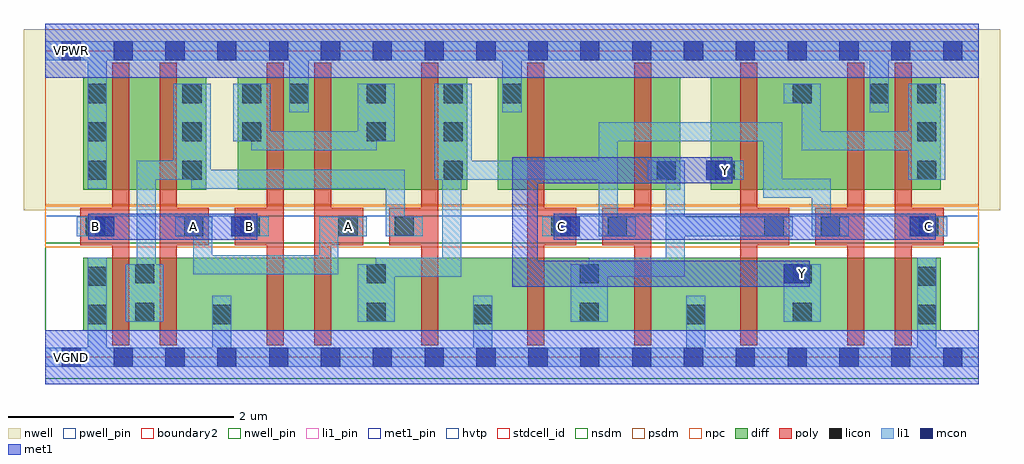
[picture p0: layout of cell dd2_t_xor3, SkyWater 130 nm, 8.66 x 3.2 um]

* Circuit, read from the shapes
.subckt dd2_t_xor3 A B C VGND VNB VPB VPWR Y
XM1 n1 B VGND VNB sky130_fd_pr__nfet_01v8 w=0.65 l=0.15
XM2 VGND A n1 VNB sky130_fd_pr__nfet_01v8 w=0.65 l=0.15
XM3 n2 B VGND VNB sky130_fd_pr__nfet_01v8 w=0.65 l=0.15
XM4 n3 A n2 VNB sky130_fd_pr__nfet_01v8 w=0.65 l=0.15
XM5 VGND n1 n3 VNB sky130_fd_pr__nfet_01v8 w=0.65 l=0.15
XM6 n4 C VGND VNB sky130_fd_pr__nfet_01v8 w=0.65 l=0.15
XM7 VGND n3 n4 VNB sky130_fd_pr__nfet_01v8 w=0.65 l=0.15
XM8 Y n4 VGND VNB sky130_fd_pr__nfet_01v8 w=0.65 l=0.15
XM9 n5 n3 Y VNB sky130_fd_pr__nfet_01v8 w=0.65 l=0.15
XM10 VGND C n5 VNB sky130_fd_pr__nfet_01v8 w=0.65 l=0.15
XM11 n6 B VPWR VPB sky130_fd_pr__pfet_01v8_hvt w=1 l=0.15
XM12 n1 A n6 VPB sky130_fd_pr__pfet_01v8_hvt w=1 l=0.15
XM13 VPWR B n7 VPB sky130_fd_pr__pfet_01v8_hvt w=1 l=0.15
XM14 n7 A VPWR VPB sky130_fd_pr__pfet_01v8_hvt w=1 l=0.15
XM15 n3 n1 n7 VPB sky130_fd_pr__pfet_01v8_hvt w=1 l=0.15
XM16 n8 C VPWR VPB sky130_fd_pr__pfet_01v8_hvt w=1 l=0.15
XM17 n4 n3 n8 VPB sky130_fd_pr__pfet_01v8_hvt w=1 l=0.15
XM18 n9 n4 Y VPB sky130_fd_pr__pfet_01v8_hvt w=1 l=0.15
XM19 VPWR n3 n9 VPB sky130_fd_pr__pfet_01v8_hvt w=1 l=0.15
XM20 n9 C VPWR VPB sky130_fd_pr__pfet_01v8_hvt w=1 l=0.15
.ends

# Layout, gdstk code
import gdstk
lib = gdstk.Library(unit=1e-6, precision=1e-09)
def R(c, l, rs):  # rectangles x0, y0, x1, y1
    for r in rs: c.add(gdstk.rectangle(r[:2], r[2:], *l))
def A(c, l, x, y, w, h, nx, ny, dx, dy):  # array of equal rectangles
    R(c, l, [(x+i*dx, y+j*dy, x+i*dx+w, y+j*dy+h) for i in range(nx) for j in range(ny)])
nwell_pin = (64, 16)
nwell = (64, 20)
diff = (65, 20)
poly = (66, 20)
licon = (66, 44)
li1_pin = (67, 16)
li1 = (67, 20)
mcon = (67, 44)
met1_pin = (68, 16)
met1 = (68, 20)
hvtp = (78, 44)
stdcell_id = (81, 4)
nsdm = (93, 44)
psdm = (94, 20)
npc = (95, 20)
pwell_pin = (122, 16)
boundary2 = (236, 0)

dd2_t_xor3 = lib.new_cell('dd2_t_xor3')
R(dd2_t_xor3, nwell_pin, [(0.145,2.635,0.315,2.805)])
R(dd2_t_xor3, nwell, [(-0.19,1.305,8.47,2.91)])
A(dd2_t_xor3, diff, 0.88, 0.235, 0.685, 0.65, 3, 1, 0.685, 0)
A(dd2_t_xor3, diff, 2.935, 0.235, 0.945, 0.65, 4, 1, 0.945, 0)
R(dd2_t_xor3, diff, [(0.335,0.235,0.88,0.885), (6.715,0.235,7.4,0.885), (7.4,0.235,7.945,0.885), (0.335,1.485,0.88,2.485), (0.88,1.485,1.425,2.485), (1.705,1.485,2.25,2.485), (2.25,1.485,2.935,2.485), (2.935,1.485,3.745,2.485), (4.015,1.485,4.825,2.485), (4.825,1.485,5.635,2.485), (5.905,1.485,6.715,2.485), (6.715,1.485,7.4,2.485), (7.4,1.485,7.945,2.485)])
R(dd2_t_xor3, poly, [(0.595,0.105,0.745,2.615), (1.015,0.105,1.165,2.615), (1.965,0.105,2.115,2.615), (2.385,0.105,2.535,2.615), (3.335,0.105,3.485,2.615), (4.275,0.105,4.425,2.615), (5.225,0.105,5.375,2.615), (6.165,0.105,6.315,2.615), (7.115,0.105,7.265,2.615), (7.535,0.105,7.685,2.615), (0.31,0.995,0.745,1.325), (1.015,0.995,1.45,1.325), (1.68,0.995,2.115,1.325), (2.385,0.995,2.82,1.325), (3.05,0.995,3.485,1.325), (4.275,0.995,4.71,1.325), (4.94,0.995,5.375,1.325), (6.165,0.995,6.6,1.325), (6.83,0.995,7.265,1.325), (7.535,0.995,7.97,1.325)])
A(dd2_t_xor3, licon, 2.85, 0.315, 0.17, 0.17, 3, 2, 1.89, 0.34)
A(dd2_t_xor3, licon, 0.375, 1.575, 0.17, 0.17, 1, 3, 0, 0.34)
A(dd2_t_xor3, licon, 1.215, 1.575, 0.17, 0.17, 1, 3, 0, 0.34)
A(dd2_t_xor3, licon, 7.735, 1.575, 0.17, 0.17, 1, 3, 0, 0.34)
A(dd2_t_xor3, licon, 2.165, 2.255, 0.17, 0.17, 3, 1, 0.685, 0)
R(dd2_t_xor3, licon, [(0.375,0.295,0.545,0.465), (1.48,0.295,1.65,0.465), (3.795,0.295,3.965,0.465), (5.685,0.295,5.855,0.465), (7.735,0.295,7.905,0.465), (0.795,0.315,0.965,0.485), (0.375,0.635,0.545,0.805), (7.735,0.635,7.905,0.805), (0.795,0.655,0.965,0.825), (0.36,1.075,0.53,1.245), (1.23,1.075,1.4,1.245), (1.73,1.075,1.9,1.245), (2.6,1.075,2.77,1.245), (3.1,1.075,3.27,1.245), (4.49,1.075,4.66,1.245), (4.99,1.075,5.16,1.245), (6.38,1.075,6.55,1.245), (6.88,1.075,7.05,1.245), (7.75,1.075,7.92,1.245), (3.535,1.575,3.705,1.745), (5.425,1.575,5.595,1.745), (5.945,1.575,6.115,1.745), (1.745,1.915,1.915,2.085), (2.85,1.915,3.02,2.085), (3.535,1.915,3.705,2.085), (1.745,2.255,1.915,2.425), (4.055,2.255,4.225,2.425), (6.63,2.255,6.8,2.425), (7.315,2.255,7.485,2.425)])
R(dd2_t_xor3, li1_pin, [(6.63,0.655,6.8,0.825), (0.36,1.075,0.53,1.245), (1.23,1.075,1.4,1.245), (1.73,1.075,1.9,1.245), (2.6,1.075,2.77,1.245), (4.49,1.075,4.66,1.245), (7.75,1.075,7.92,1.245), (5.945,1.575,6.115,1.745)])
A(dd2_t_xor3, li1, 2.77, 0.315, 0.33, 0.51, 3, 1, 1.89, 0)
A(dd2_t_xor3, li1, 2.77, 0.655, 0.33, 0.17, 3, 1, 1.89, 0)
R(dd2_t_xor3, li1, [(0,-0.085,8.28,0.085), (0.375,-0.085,0.545,0.545), (1.48,-0.085,1.65,0.545), (3.795,-0.085,3.965,0.545), (5.685,-0.085,5.855,0.545), (7.735,-0.085,7.905,0.545), (0.375,0.295,0.545,0.885), (7.735,0.295,7.905,0.885), (0.715,0.315,1.045,0.825), (0.715,0.655,1.045,0.825), (0.81,0.655,0.98,1.745), (2.93,0.655,3.1,0.885), (4.82,0.655,4.99,0.885), (2.93,0.715,3.69,0.885), (3.52,0.715,3.69,1.745), (4.82,0.715,5.675,0.885), (5.505,0.715,5.675,1.245), (1.31,0.735,1.48,1.245), (1.31,0.735,2.6,0.905), (2.43,0.735,2.6,1.245), (0.28,1.075,0.61,1.245), (1.15,1.075,1.48,1.245), (1.65,1.075,1.98,1.245), (2.43,1.075,2.69,1.245), (2.52,1.075,2.85,1.245), (3.02,1.075,3.19,1.665), (3.02,1.075,3.35,1.245), (4.41,1.075,4.74,1.245), (4.91,1.075,5.08,1.745), (4.91,1.075,5.24,1.245), (5.505,1.075,5.675,1.745), (5.505,1.075,6.47,1.245), (6.3,1.075,6.63,1.245), (6.8,1.075,6.97,1.585), (6.8,1.075,7.13,1.245), (7.67,1.075,8,1.245), (6.37,1.415,6.54,2.085), (6.37,1.415,6.97,1.585), (0.375,1.495,0.545,2.085), (1.295,1.495,3.19,1.665), (1.295,1.495,1.465,1.745), (0.81,1.575,1.305,1.745), (0.98,1.575,1.135,1.745), (0.98,1.575,1.135,1.745), (0.98,1.575,1.135,1.745), (0.98,1.575,1.135,1.745), (0.98,1.575,1.135,1.745), (0.98,1.575,1.135,1.745), (0.98,1.575,1.135,1.745), (0.98,1.575,1.135,1.745), (0.98,1.575,1.135,1.745), (0.98,1.575,1.135,1.745), (0.98,1.575,1.135,1.745), (0.98,1.575,1.135,1.745), (0.98,1.575,1.135,1.745), (0.98,1.575,1.135,1.745), (0.98,1.575,1.135,1.745), (0.98,1.575,1.135,1.745), (0.98,1.575,1.135,1.665), (0.98,1.575,1.135,1.665), (0.98,1.575,1.135,1.665), (0.98,1.575,1.135,1.665), (0.98,1.575,1.135,1.665), (0.98,1.575,1.135,1.665), (0.98,1.575,1.135,1.665), (0.98,1.575,1.135,1.665), (1.135,1.575,1.465,1.745), (1.135,1.575,1.465,2.085), (1.135,1.575,1.295,1.665), (1.135,1.575,1.295,1.665), (1.135,1.575,1.295,1.665), (1.135,1.575,1.295,1.665), (1.135,1.575,1.295,1.665), (1.135,1.575,1.295,1.665), (1.135,1.575,1.295,1.665), (1.135,1.575,1.295,1.665), (1.135,1.575,1.295,1.665), (1.135,1.575,1.295,1.665), (1.135,1.575,1.295,1.665), (1.135,1.575,1.295,1.665), (1.135,1.575,1.295,1.665), (1.135,1.575,1.295,1.665), (1.135,1.575,1.295,1.665), (1.135,1.575,1.295,1.665), (1.135,1.575,1.295,1.665), (1.135,1.575,1.295,1.665), (1.135,1.575,1.295,1.745), (1.135,1.575,1.295,1.745), (1.135,1.575,1.295,1.745), (1.135,1.575,1.295,1.745), (1.135,1.575,1.295,1.745), (1.135,1.575,1.295,1.745), (1.135,1.575,1.295,1.745), (1.135,1.575,1.295,1.745), (1.135,1.575,1.295,1.745), (1.135,1.575,1.295,1.745), (1.135,1.575,1.295,1.745), (1.135,1.575,1.295,1.745), (1.135,1.575,1.295,1.745), (1.135,1.575,1.295,1.745), (3.455,1.575,3.785,1.745), (3.455,1.575,3.785,2.085), (3.615,1.575,5.08,1.745), (4.91,1.575,5.08,2.085), (5.345,1.575,5.675,1.745), (5.865,1.575,6.195,1.745), (7.655,1.575,7.985,2.085), (0.375,1.835,0.545,2.425), (1.825,1.835,1.995,2.425), (1.825,1.835,2.94,2.005), (2.77,1.835,2.94,2.425), (6.71,1.835,6.88,2.425), (6.71,1.835,7.825,2.005), (7.655,1.835,7.825,2.425), (1.135,1.915,1.465,2.425), (1.665,1.915,1.995,2.425), (2.77,1.915,3.1,2.425), (3.455,1.915,3.785,2.425), (4.91,1.915,6.54,2.085), (7.655,1.915,7.985,2.425), (0.375,2.085,0.545,2.175), (0.375,2.085,0.545,2.175), (0.375,2.085,0.545,2.175), (0.375,2.085,0.545,2.175), (0.375,2.175,0.545,2.805), (2.165,2.175,2.335,2.805), (4.055,2.175,4.225,2.805), (7.315,2.175,7.485,2.805), (1.665,2.255,1.995,2.425), (2.77,2.255,3.1,2.425), (6.55,2.255,6.88,2.425), (7.655,2.255,7.985,2.425), (0,2.635,8.28,2.805)])
A(dd2_t_xor3, mcon, 0.145, -0.085, 0.17, 0.17, 18, 2, 0.46, 2.72)
R(dd2_t_xor3, mcon, [(6.55,0.655,6.72,0.825), (0.44,1.075,0.61,1.245), (1.65,1.075,1.82,1.245), (4.57,1.075,4.74,1.245), (7.67,1.075,7.84,1.245), (5.865,1.575,6.035,1.745)])
R(dd2_t_xor3, met1_pin, [(0.145,-0.085,0.315,0.085), (0.145,2.635,0.315,2.805)])
R(dd2_t_xor3, met1, [(0,-0.24,8.28,0.24), (4.14,0.625,6.75,0.855), (4.14,0.625,4.37,1.775), (6.49,0.625,6.78,0.855), (0.38,1.045,0.67,1.275), (0.41,1.045,1.85,1.275), (1.59,1.045,1.88,1.275), (4.51,1.045,4.8,1.275), (4.54,1.045,7.87,1.275), (7.61,1.045,7.9,1.275), (4.14,1.545,6.065,1.775), (5.805,1.545,6.095,1.775), (0,2.48,8.28,2.96)])
R(dd2_t_xor3, hvtp, [(0,1.25,8.28,2.72)])
R(dd2_t_xor3, stdcell_id, [(0,0,8.28,2.72)])
R(dd2_t_xor3, nsdm, [(0,-0.19,8.28,1.015)])
R(dd2_t_xor3, psdm, [(0,1.355,8.28,2.91)])
R(dd2_t_xor3, npc, [(0,0.975,8.28,1.345)])
R(dd2_t_xor3, pwell_pin, [(0.145,-0.085,0.315,0.085)])
R(dd2_t_xor3, boundary2, [(0,0,8.28,2.72)])
dd2_t_xor3.add(gdstk.Label('A', (1.315,1.16), layer=67, texttype=5))
dd2_t_xor3.add(gdstk.Label('A', (2.685,1.16), layer=67, texttype=5))
dd2_t_xor3.add(gdstk.Label('B', (0.445,1.16), layer=67, texttype=5))
dd2_t_xor3.add(gdstk.Label('B', (1.815,1.16), layer=67, texttype=5))
dd2_t_xor3.add(gdstk.Label('C', (4.575,1.16), layer=67, texttype=5))
dd2_t_xor3.add(gdstk.Label('C', (7.835,1.16), layer=67, texttype=5))
dd2_t_xor3.add(gdstk.Label('Y', (6.715,0.74), layer=67, texttype=5))
dd2_t_xor3.add(gdstk.Label('Y', (6.03,1.66), layer=67, texttype=5))
dd2_t_xor3.add(gdstk.Label('VGND', (0.23,0), layer=68, texttype=5))
dd2_t_xor3.add(gdstk.Label('VPWR', (0.23,2.72), layer=68, texttype=5))
dd2_t_xor3.add(gdstk.Label('VPB', (0.23,2.72), layer=64, texttype=5))
dd2_t_xor3.add(gdstk.Label('VNB', (0.23,0), layer=64, texttype=59))

lib.write_gds('dd2_t_xor3.gds')
